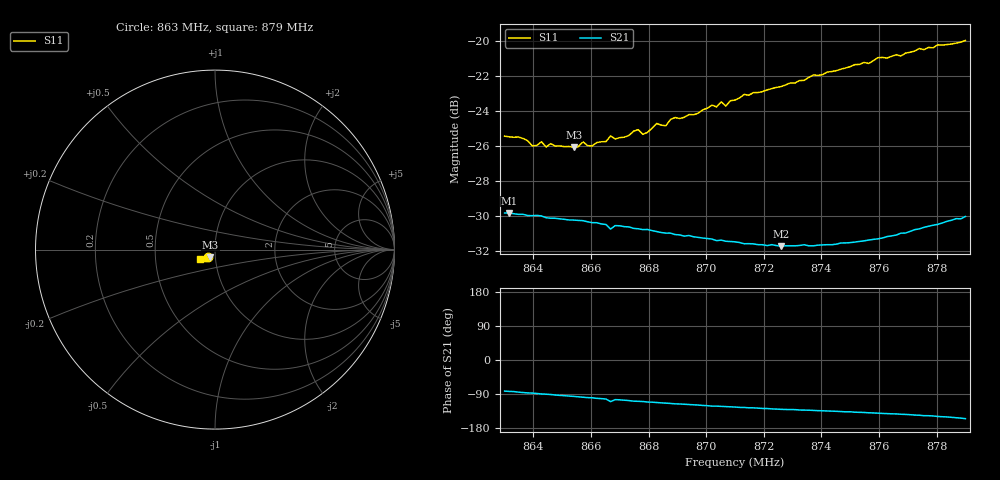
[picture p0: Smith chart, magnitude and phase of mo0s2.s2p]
# HZ S RI R 50
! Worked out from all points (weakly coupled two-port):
!   101 points, 863 MHz to 879 MHz, reference 50 ohm
!   highest |S21| = -29.81 dB at 863.16 MHz (marker M1); lowest = -31.7 dB at 872.6 MHz (marker M2)
!   lowest |S11| = -26.1 dB at 865.4 MHz (marker M3), VSWR 1.10, Z = 47.3 - j3.99 ohm
!   |S11| at or under -10 dB: start of sweep to end of sweep
!   S12 and S22 are empty: the file has one direction only
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8.63e8  -0.0368 -0.0389  0.00443 -0.032  0 0  0 0
8.6316e8  -0.0368 -0.0387  0.00402 -0.0321  0 0  0 0
8.6364e8  -0.034 -0.0403  0.0023 -0.0319  0 0  0 0
8.6396e8  -0.0314 -0.0393  0.0015 -0.0317  0 0  0 0
8.6428e8  -0.0308 -0.0414  0.000242 -0.0317  0 0  0 0
8.6444e8  -0.0303 -0.0396  -0.000139 -0.0313  0 0  0 0
8.646e8  -0.0309 -0.0406  -0.000581 -0.0312  0 0  0 0
8.654e8  -0.0265 -0.0421  -0.00324 -0.0307  0 0  0 0
8.6572e8  -0.0268 -0.0442  -0.00436 -0.0304  0 0  0 0
8.6604e8  -0.0251 -0.0435  -0.00514 -0.0299  0 0  0 0
8.6652e8  -0.0248 -0.0453  -0.00677 -0.0292  0 0  0 0
8.6668e8  -0.0264 -0.0467  -0.00985 -0.0273  0 0  0 0
8.6716e8  -0.0235 -0.0477  -0.00817 -0.0284  0 0  0 0
8.6764e8  -0.0255 -0.0497  -0.00949 -0.0275  0 0  0 0
8.678e8  -0.0236 -0.0488  -0.0097 -0.0273  0 0  0 0
8.6828e8  -0.0244 -0.0529  -0.0108 -0.0265  0 0  0 0
8.6844e8  -0.0242 -0.0523  -0.0111 -0.0261  0 0  0 0
8.71e8  -0.0312 -0.0604  -0.015 -0.0221  0 0  0 0
8.726e8  -0.0378 -0.0639  -0.0168 -0.0198  0 0  0 0
8.7372e8  -0.0443 -0.0668  -0.0177 -0.019  0 0  0 0
8.7644e8  -0.0647 -0.0635  -0.0219 -0.0171  0 0  0 0
8.79e8  -0.0852 -0.0535  -0.0286 -0.0135  0 0  0 0
